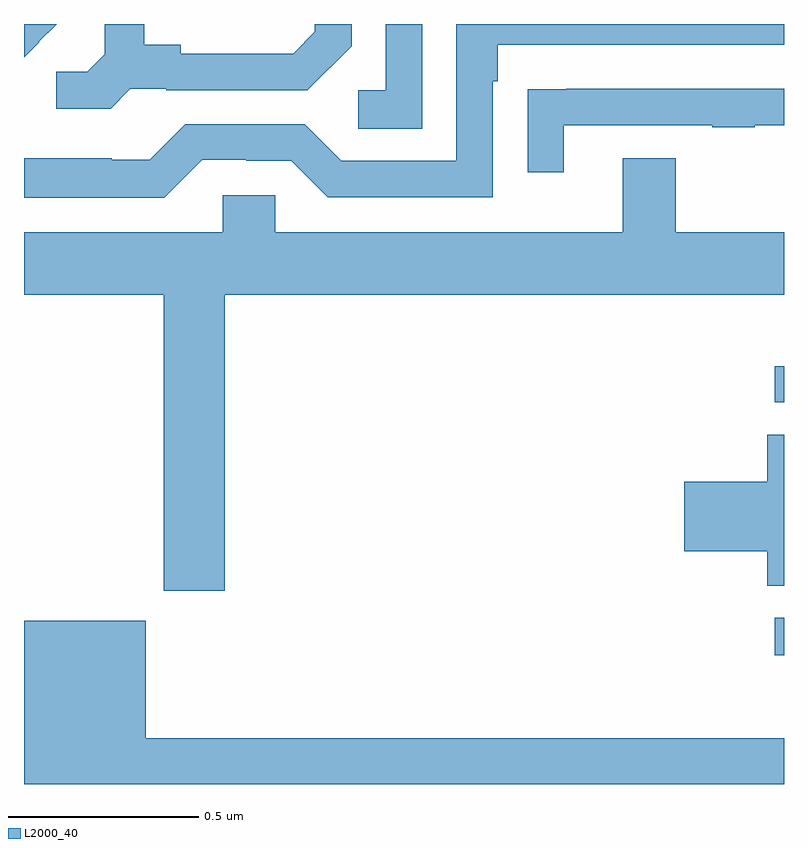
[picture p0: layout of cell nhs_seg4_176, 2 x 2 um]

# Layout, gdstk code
import gdstk
lib = gdstk.Library(unit=1e-6, precision=1e-09)
def R(c, l, rs):  # rectangles x0, y0, x1, y1
    for r in rs: c.add(gdstk.rectangle(r[:2], r[2:], *l))
def P(c, l, *ps):  # polygons
    for p in ps: c.add(gdstk.Polygon(p, *l))
L2000_40 = (2000, 40)

nhs_seg4_176 = lib.new_cell('nhs_seg4_176')
R(nhs_seg4_176, L2000_40, [(114.975,761.239,115,761.337), (114.975,761.904,115,762)])
P(nhs_seg4_176, L2000_40, [(113.04,762.852),(113.039,762.853),(113.086,762.9),(113,762.9),(113,762.812)],
  [(113.28,762.729),(113.374,762.729),(113.374,762.726),(113.746,762.726),(113.862,762.842),(113.862,762.9),(113.765,762.9),(113.765,762.879),(113.708,762.822),(113.413,762.822),(113.413,762.845),(113.317,762.845),(113.317,762.9),(113.213,762.9),(113.213,762.821),(113.166,762.774),(113.085,762.774),(113.085,762.677),(113.228,762.677)],
  [(114.048,762.9),(113.952,762.9),(113.952,762.726),(113.88,762.726),(113.88,762.625),(114.048,762.625)],
  [(113.469,762.543),(113.585,762.543),(113.585,762.54),(113.703,762.54),(113.799,762.444),(114.234,762.444),(114.234,762.749),(114.247,762.749),(114.247,762.846),(115,762.846),(115,762.9),(114.138,762.9),(114.138,762.54),(113.835,762.54),(113.739,762.636),(113.424,762.636),(113.331,762.543),(113.231,762.543),(113.231,762.547),(113,762.547),(113,762.443),(113.369,762.443)],
  [(114.421,762.633),(114.811,762.633),(114.811,762.628),(114.923,762.628),(114.923,762.633),(115,762.633),(115,762.729),(114.427,762.729),(114.427,762.728),(114.325,762.728),(114.325,762.51),(114.421,762.51)],
  [(113.528,762.188),(115,762.188),(115,762.352),(114.715,762.352),(114.715,762.547),(114.575,762.547),(114.575,762.352),(113.661,762.352),(113.661,762.45),(113.523,762.45),(113.523,762.352),(113,762.352),(113,762.188),(113.368,762.188),(113.368,761.409),(113.528,761.409)],
  [(115,761.819),(114.956,761.819),(114.956,761.696),(114.738,761.696),(114.738,761.513),(114.956,761.513),(114.956,761.422),(115,761.422)],
  [(115,761.02),(113.32,761.02),(113.32,761.329),(113,761.329),(113,760.9),(115,760.9)])

lib.write_gds('nhs_seg4_176.gds')
